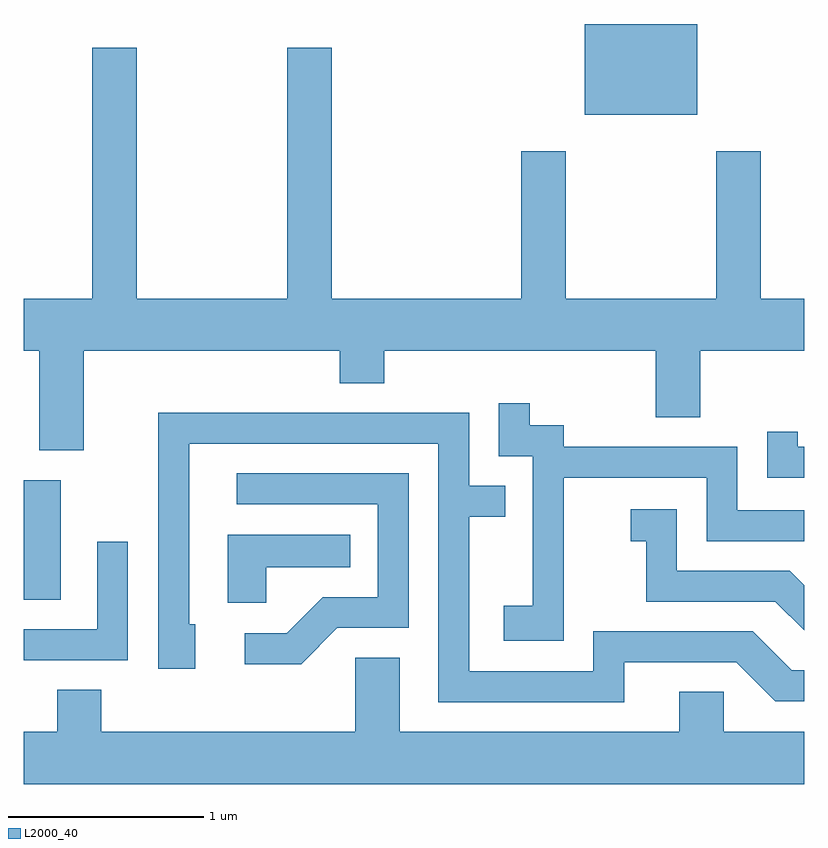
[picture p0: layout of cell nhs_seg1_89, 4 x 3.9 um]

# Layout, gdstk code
import gdstk
lib = gdstk.Library(unit=1e-6, precision=1e-09)
def R(c, l, rs):  # rectangles x0, y0, x1, y1
    for r in rs: c.add(gdstk.rectangle(r[:2], r[2:], *l))
def P(c, l, *ps):  # polygons
    for p in ps: c.add(gdstk.Polygon(p, *l))
L2000_40 = (2000, 40)

nhs_seg1_89 = lib.new_cell('nhs_seg1_89')
R(nhs_seg1_89, L2000_40, [(187.611,882.761,187.799,883.374), (190.486,885.246,191.064,885.712)])
P(nhs_seg1_89, L2000_40, [(187.919,884.036),(189.231,884.036),(189.231,883.871),(189.459,883.871),(189.459,884.036),(190.851,884.036),(190.851,883.696),(191.079,883.696),(191.079,884.036),(191.611,884.036),(191.611,884.304),(191.389,884.304),(191.389,885.059),(191.161,885.059),(191.161,884.304),(190.389,884.304),(190.389,885.059),(190.161,885.059),(190.161,884.304),(189.189,884.304),(189.189,885.589),(188.961,885.589),(188.961,884.304),(188.189,884.304),(188.189,885.589),(187.961,885.589),(187.961,884.304),(187.611,884.304),(187.611,884.036),(187.691,884.036),(187.691,883.526),(187.919,883.526)],
  [(190.379,883.386),(191.111,883.386),(191.111,883.061),(191.611,883.061),(191.611,883.219),(191.269,883.219),(191.269,883.544),(190.379,883.544),(190.379,883.654),(190.204,883.654),(190.204,883.768),(190.046,883.768),(190.046,883.496),(190.221,883.496),(190.221,882.729),(190.071,882.729),(190.071,882.551),(190.379,882.551)],
  [(190.689,882.441),(191.264,882.441),(191.464,882.241),(191.611,882.241),(191.611,882.399),(191.547,882.399),(191.347,882.599),(190.531,882.599),(190.531,882.394),(189.894,882.394),(189.894,883.186),(190.078,883.186),(190.078,883.344),(189.894,883.344),(189.894,883.719),(188.301,883.719),(188.301,882.406),(188.489,882.406),(188.489,882.634),(188.459,882.634),(188.459,883.561),(189.736,883.561),(189.736,882.236),(190.689,882.236)],
  [(191.611,883.544),(191.579,883.544),(191.579,883.623),(191.421,883.623),(191.421,883.386),(191.611,883.386)],
  [(189.217,882.616),(189.584,882.616),(189.584,883.409),(188.703,883.409),(188.703,883.251),(189.426,883.251),(189.426,882.774),(189.144,882.774),(188.959,882.589),(188.743,882.589),(188.743,882.431),(189.032,882.431)],
  [(191.611,882.835),(191.537,882.909),(190.959,882.909),(190.959,883.224),(190.723,883.224),(190.723,883.061),(190.801,883.061),(190.801,882.751),(191.464,882.751),(191.611,882.604)],
  [(188.854,882.926),(189.283,882.926),(189.283,883.094),(188.656,883.094),(188.656,882.746),(188.854,882.746)],
  [(188.144,883.058),(187.986,883.058),(187.986,882.609),(187.611,882.609),(187.611,882.451),(188.144,882.451)],
  [(191.611,882.084),(191.199,882.084),(191.199,882.289),(190.971,882.289),(190.971,882.084),(189.539,882.084),(189.539,882.464),(189.311,882.464),(189.311,882.084),(188.009,882.084),(188.009,882.299),(187.781,882.299),(187.781,882.084),(187.611,882.084),(187.611,881.816),(191.611,881.816)])

lib.write_gds('nhs_seg1_89.gds')
